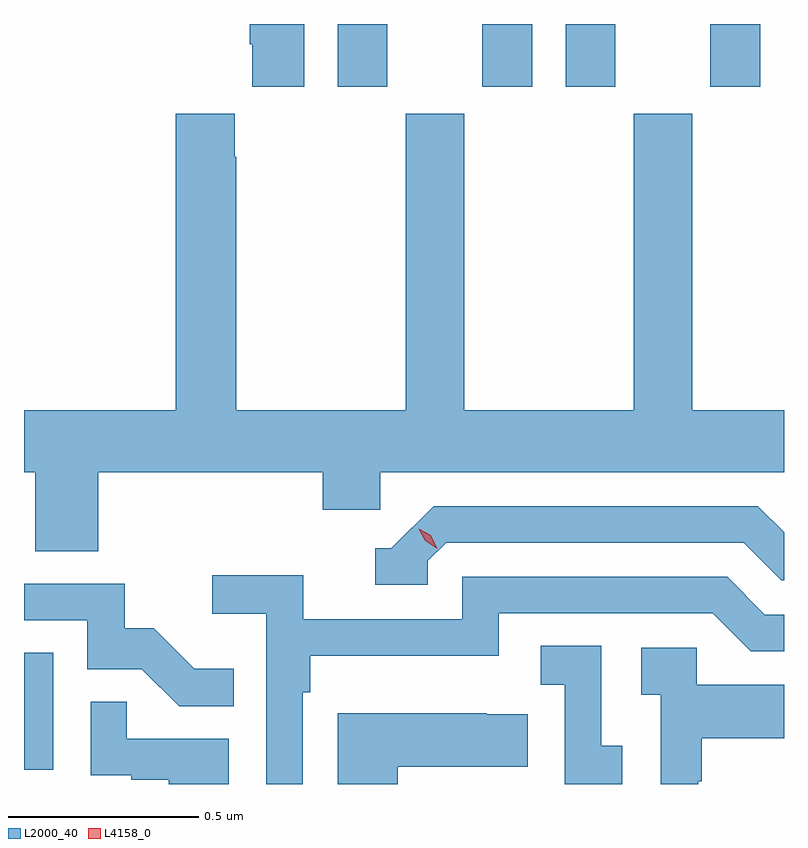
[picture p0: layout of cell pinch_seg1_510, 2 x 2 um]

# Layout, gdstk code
import gdstk
lib = gdstk.Library(unit=1e-6, precision=1e-09)
def R(c, l, rs):  # rectangles x0, y0, x1, y1
    for r in rs: c.add(gdstk.rectangle(r[:2], r[2:], *l))
def P(c, l, *ps):  # polygons
    for p in ps: c.add(gdstk.Polygon(p, *l))
L2000_40 = (2000, 40)
L4158_0 = (4158, 0)

pinch_seg1_510 = lib.new_cell('pinch_seg1_510')
R(pinch_seg1_510, L2000_40, [(1117.565,537.63,1117.642,537.937), (1118.39,539.427,1118.521,539.592), (1118.771,539.427,1118.902,539.592), (1118.99,539.427,1119.121,539.592), (1119.371,539.427,1119.502,539.592)])
P(pinch_seg1_510, L2000_40, [(1118.302,539.592),(1118.159,539.592),(1118.159,539.539),(1118.165,539.539),(1118.165,539.427),(1118.302,539.427)],
  [(1117.76,538.412),(1118.351,538.412),(1118.351,538.314),(1118.502,538.314),(1118.502,538.412),(1119.565,538.412),(1119.565,538.576),(1119.324,538.576),(1119.324,539.356),(1119.169,539.356),(1119.169,538.576),(1118.724,538.576),(1118.724,539.356),(1118.569,539.356),(1118.569,538.576),(1118.124,538.576),(1118.124,539.243),(1118.119,539.243),(1118.119,539.356),(1117.964,539.356),(1117.964,538.576),(1117.565,538.576),(1117.565,538.412),(1117.595,538.412),(1117.595,538.204),(1117.76,538.204)],
  [(1118.628,538.179),(1118.676,538.227),(1119.459,538.227),(1119.558,538.128),(1119.565,538.128),(1119.565,538.254),(1119.496,538.323),(1118.643,538.323),(1118.532,538.212),(1118.489,538.212),(1118.489,538.116),(1118.628,538.116)],
  [(1118.298,537.833),(1118.318,537.833),(1118.318,537.929),(1118.814,537.929),(1118.814,538.041),(1119.378,538.041),(1119.477,537.942),(1119.565,537.942),(1119.565,538.038),(1119.514,538.038),(1119.415,538.137),(1118.718,538.137),(1118.718,538.026),(1118.3,538.026),(1118.3,538.142),(1118.061,538.142),(1118.061,538.04),(1118.202,538.04),(1118.202,537.592),(1118.298,537.592)],
  [(1118.117,537.895),(1118.013,537.895),(1117.906,538.002),(1117.83,538.002),(1117.83,538.119),(1117.565,538.119),(1117.565,538.023),(1117.731,538.023),(1117.731,537.894),(1117.875,537.894),(1117.973,537.796),(1118.117,537.796)],
  [(1119.139,537.693),(1119.084,537.693),(1119.084,537.956),(1118.925,537.956),(1118.925,537.853),(1118.988,537.853),(1118.988,537.592),(1119.139,537.592)],
  [(1119.339,537.599),(1119.349,537.599),(1119.349,537.713),(1119.565,537.713),(1119.565,537.853),(1119.336,537.853),(1119.336,537.951),(1119.189,537.951),(1119.189,537.827),(1119.24,537.827),(1119.24,537.592),(1119.339,537.592)],
  [(1118.104,537.711),(1117.835,537.711),(1117.835,537.809),(1117.74,537.809),(1117.74,537.615),(1117.847,537.615),(1117.847,537.603),(1117.946,537.603),(1117.946,537.592),(1118.104,537.592)],
  [(1118.548,537.638),(1118.891,537.638),(1118.891,537.775),(1118.783,537.775),(1118.783,537.778),(1118.39,537.778),(1118.39,537.592),(1118.548,537.592)])
P(pinch_seg1_510, L4158_0, [(1118.651,538.213),(1118.621,538.232),(1118.604,538.264),(1118.604,538.264),(1118.604,538.264),(1118.635,538.246),(1118.652,538.213),(1118.652,538.213)])

lib.write_gds('pinch_seg1_510.gds')
